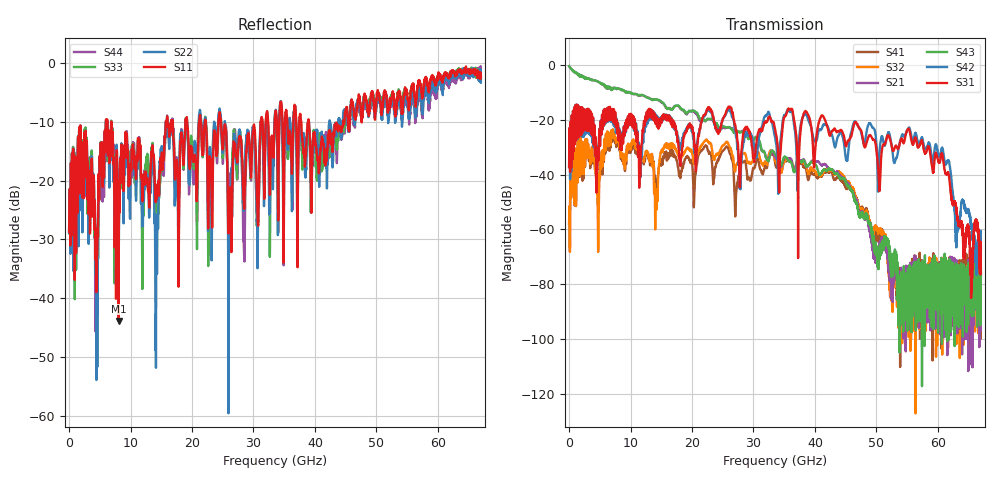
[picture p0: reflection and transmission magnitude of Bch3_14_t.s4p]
!Agilent Technologies,N5247A,US51170199,A.09.90.13
!Agilent N5247A: A.09.90.13
!Date: Wednesday, October 17, 2018 15:08:17
!Correction: S11(Full 4 Port(1,2,3,4))
!S12(Full 4 Port(1,2,3,4))
!S13(Full 4 Port(1,2,3,4))
!S14(Full 4 Port(1,2,3,4))
!S21(Full 4 Port(1,2,3,4))
!S22(Full 4 Port(1,2,3,4))
!S23(Full 4 Port(1,2,3,4))
!S24(Full 4 Port(1,2,3,4))
!S31(Full 4 Port(1,2,3,4))
!S32(Full 4 Port(1,2,3,4))
!S33(Full 4 Port(1,2,3,4))
!S34(Full 4 Port(1,2,3,4))
!S41(Full 4 Port(1,2,3,4))
!S42(Full 4 Port(1,2,3,4))
!S43(Full 4 Port(1,2,3,4))
!S44(Full 4 Port(1,2,3,4))
!S4P File: Measurements: <S11,S12,S13,S14>,
!<S21,S22,S23,S24>,
!<S31,S32,S33,S34>,
!<S41,S42,S43,S44>:
# Hz S  dB  R 50
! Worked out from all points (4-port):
!   6701 points, 10 MHz to 67 GHz, reference 50 ohm
!   strongest paths, dB at 10 MHz, 16.76 GHz, 33.51 GHz, 50.25 GHz, 67 GHz:
!     S31: -37.2, -21.4, -23.2, -36.6, -67.3
!     S42: -37.2, -20.7, -26.1, -44.6, -60.7
!     S43: -0.3, -16.1, -32.4, -73.5, -76.5
!     S21: -0.3, -16.0, -33.5, -69.0, -74.3
!     S32: -57.9, -29.7, -34.5, -60.4, -76.0
!     S41: -57.9, -32.2, -35.6, -62.5, -75.7
!   lowest |S11| = -43.9 dB at 8.059 GHz (marker M1), VSWR 1.01, Z = 49.8 - j0.621 ohm
!   |S11| at or under -10 dB: start of sweep to 5.982 GHz; 6.887 GHz to 15.74 GHz (8.854 GHz wide, 78.3 % of centre); 24.7 GHz to 31.17 GHz (6.471 GHz wide, 23.2 % of centre)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
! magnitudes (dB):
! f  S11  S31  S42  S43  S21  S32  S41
! 10 MHz  -28.7  -37.2  -37.2  -0.3  -0.3  -57.9  -57.9
! 1.73 GHz  -18.7  -19.2  -19.3  -3.6  -3.6  -31.5  -32.0
! 4.709 GHz  -29.5  -30.4  -29.7  -6.0  -6.0  -60.5  -51.0
! 8.059 GHz  -43.9  -27.5  -26.0  -8.5  -8.6  -27.5  -28.4
! 43.97 GHz  -10.8  -24.2  -25.3  -40.9  -40.1  -39.0  -41.3
! 55.17 GHz  -6.4  -23.2  -23.1  -83.3  -79.8  -76.1  -83.7
! 67 GHz  -2.3  -67.3  -60.7  -76.5  -74.3  -76.0  -75.7
